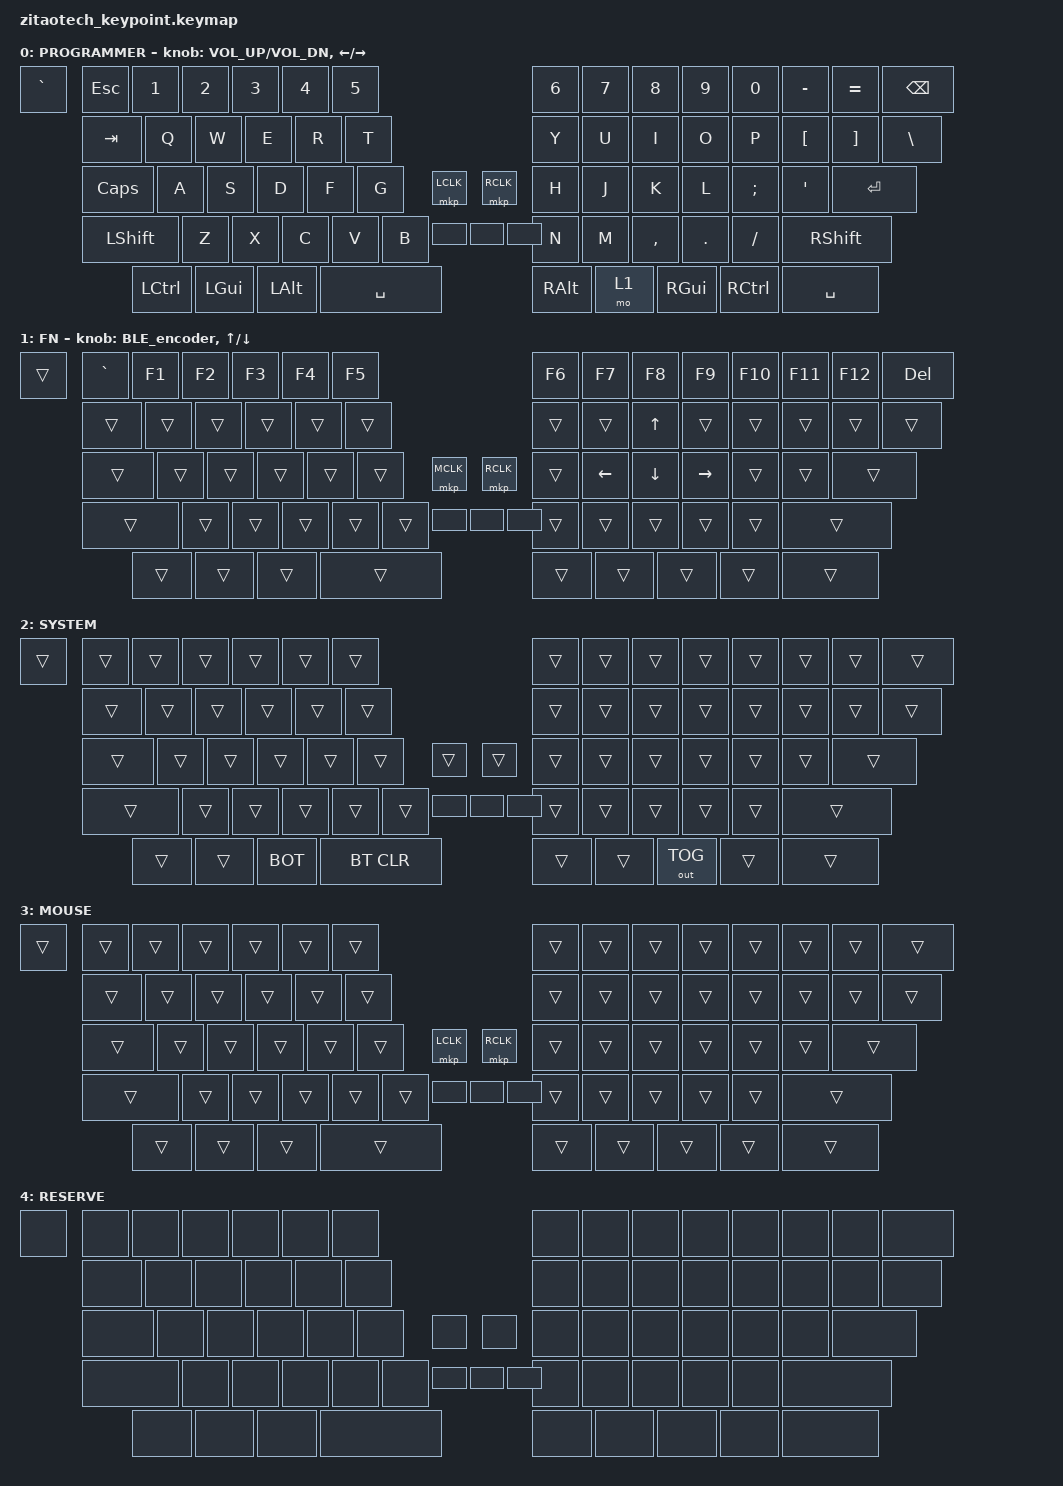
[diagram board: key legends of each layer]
/*
 * Copyright (c) 2025 ZitaoTech
 *
 * SPDX-License-Identifier: MIT
 *
 * KEYPOINT programmer 60% base layer.
 * All normal ANSI punctuation used for programming is directly reachable
 * on layer 0. No bracket/minus/quote/backslash key is hidden behind a layer.
 */

#include <behaviors.dtsi>
#include <dt-bindings/zmk/keys.h>
#include <dt-bindings/zmk/bt.h>
#include <dt-bindings/zmk/outputs.h>
#include <dt-bindings/zmk/pointing.h>
#include <dt-bindings/zmk/mouse.h>
#include <dt-bindings/zmk/backlight.h>
#include <dt-bindings/zmk/ext_power.h>
#include <dt-bindings/zmk/rgb.h>
#include <behaviors/mouse_key_toggle.dtsi>

#define LOWER 1
#define RAISE 2
#define MOUSE 3
#define BOT bootloader

/ {
    behaviors {
        td0: tap_dance_0 {
            compatible = "zmk,behavior-tap-dance";
            #binding-cells = <0>;
            tapping-term-ms = <400>;
            bindings = <&mkp LCLK>, <&bt BT_CLR>;
        };

        tdRMCLK: tap_dance_R_LMouse {
            compatible = "zmk,behavior-tap-dance";
            #binding-cells = <0>;
            tapping-term-ms = <400>;
            bindings = <&mkp RCLK>, <&mkp MCLK>;
        };

        hm: homerow_mods {
            compatible = "zmk,behavior-hold-tap";
            #binding-cells = <2>;
            tapping-term-ms = <500>;
            bindings = <&kp &kp>;
        };

        LMouse_sc: behavior_LMouse_Scroll {
            compatible = "zmk,behavior-hold-tap";
            #binding-cells = <2>;
            flavor = "tap-preferred";
            tapping-term-ms = <200>;
            bindings = <&none &mkp>;
        };

        M_kp: behavior_mouse_keypress {
            compatible = "zmk,behavior-hold-tap";
            #binding-cells = <2>;
            flavor = "tap-preferred";
            tapping-term-ms = <200>;
            bindings = <&mkp &kp>;
        };

        BLE_encoder: BLE_encoder {
            compatible = "zmk,behavior-sensor-rotate";
            #sensor-binding-cells = <0>;
            bindings = <&bt BT_NXT>, <&bt BT_PRV>;
        };
    };

    keymap {
        compatible = "zmk,keymap";

        /*
         * Conventional ANSI-60-style programming layer.
         *
         * Esc  1 2 3 4 5 | 6 7 8 9 0 - = Backspace
         * Tab  Q W E R T | Y U I O P [ ] \
         * Caps A S D F G | H J K L ; ' Enter
         * Shift Z X C V B| N M , . / Shift
         * Ctrl GUI Alt Space | RAlt Fn RGUI RCtrl
         *
         * KEYPOINT extras after the ANSI positions:
         * Grave/Tilde, second Space, LClick, RClick,
         * Scroll-mod, Arrow-mod, Slow-pointer-mod.
         */
        default_layer {
            display-name = "PROGRAMMER";
            bindings = <
/* row 0 */
&kp ESC   &kp N1    &kp N2    &kp N3    &kp N4    &kp N5    &kp N6    &kp N7    &kp N8    &kp N9    &kp N0    &kp MINUS &kp EQUAL &kp BSPC
/* row 1 */
&kp TAB   &kp Q     &kp W     &kp E     &kp R     &kp T     &kp Y     &kp U     &kp I     &kp O     &kp P     &kp LBKT  &kp RBKT  &kp BSLH
/* row 2 */
&kp CAPS  &kp A     &kp S     &kp D     &kp F     &kp G     &kp H     &kp J     &kp K     &kp L     &kp SEMI  &kp SQT   &kp ENTER
/* row 3 */
&kp LSHFT &kp Z     &kp X     &kp C     &kp V     &kp B     &kp N     &kp M     &kp COMMA &kp DOT   &kp FSLH  &kp RSHFT
/* bottom */
&kp LCTRL &kp LGUI  &kp LALT  &kp SPACE &kp RALT  &mo 1     &kp RGUI  &kp RCTRL
/* KEYPOINT extras */
&kp GRAVE &kp SPACE &mkp LCLK &mkp RCLK &none     &none     &none
            >;
            sensor-bindings = <&inc_dec_kp C_VOL_UP C_VOL_DN &inc_dec_kp LEFT RIGHT>;
        };

        lower_layer {
            display-name = "FN";
            bindings = <
/* row 0: F row */
&kp GRAVE &kp F1    &kp F2    &kp F3    &kp F4    &kp F5    &kp F6    &kp F7    &kp F8    &kp F9    &kp F10   &kp F11   &kp F12   &kp DEL
/* row 1 */
&trans    &trans    &trans    &trans    &trans    &trans    &trans    &trans    &kp UP    &trans    &trans    &trans    &trans    &trans
/* row 2 */
&trans    &trans    &trans    &trans    &trans    &trans    &trans    &kp LEFT  &kp DOWN  &kp RIGHT &trans    &trans    &trans
/* row 3 */
&trans    &trans    &trans    &trans    &trans    &trans    &trans    &trans    &trans    &trans    &trans    &trans
/* bottom */
&trans    &trans    &trans    &trans    &trans    &trans    &trans    &trans
/* extras */
&trans    &trans    &mkp MCLK &mkp RCLK &none     &none     &none
            >;
            sensor-bindings = <&BLE_encoder &inc_dec_kp UP DOWN>;
        };

        raise_layer {
            display-name = "SYSTEM";
            bindings = <
/* row 0 */
&trans    &trans    &trans    &trans    &trans    &trans    &trans    &trans    &trans    &trans    &trans    &trans    &trans    &trans
/* row 1 */
&trans    &trans    &trans    &trans    &trans    &trans    &trans    &trans    &trans    &trans    &trans    &trans    &trans    &trans
/* row 2 */
&trans    &trans    &trans    &trans    &trans    &trans    &trans    &trans    &trans    &trans    &trans    &trans    &trans
/* row 3 */
&trans    &trans    &trans    &trans    &trans    &trans    &trans    &trans    &trans    &trans    &trans    &trans
/* bottom */
&trans    &trans    &BOT      &bt BT_CLR &trans   &trans    &out OUT_TOG &trans
/* extras */
&trans    &trans    &trans    &trans    &none     &none     &none
            >;
        };

        MOUSE_layer {
            display-name = "MOUSE";
            bindings = <
/* Keep the entire normal typing surface transparent so mouse-layer activation
 * never hides punctuation or letters from the programmer base layer. */
&trans &trans &trans &trans &trans &trans &trans &trans &trans &trans &trans &trans &trans &trans
&trans &trans &trans &trans &trans &trans &trans &trans &trans &trans &trans &trans &trans &trans
&trans &trans &trans &trans &trans &trans &trans &trans &trans &trans &trans &trans &trans
&trans &trans &trans &trans &trans &trans &trans &trans &trans &trans &trans &trans
&trans &trans &trans &trans &trans &trans &trans &trans
&trans &trans &mkp LCLK &mkp RCLK &none &none &none
            >;
        };

        RES_layer {
            display-name = "RESERVE";
            bindings = <
&none &none &none &none &none &none &none &none &none &none &none &none &none &none
&none &none &none &none &none &none &none &none &none &none &none &none &none &none
&none &none &none &none &none &none &none &none &none &none &none &none &none
&none &none &none &none &none &none &none &none &none &none &none &none
&none &none &none &none &none &none &none &none
&none &none &none &none &none &none &none
            >;
        };
    };
};
